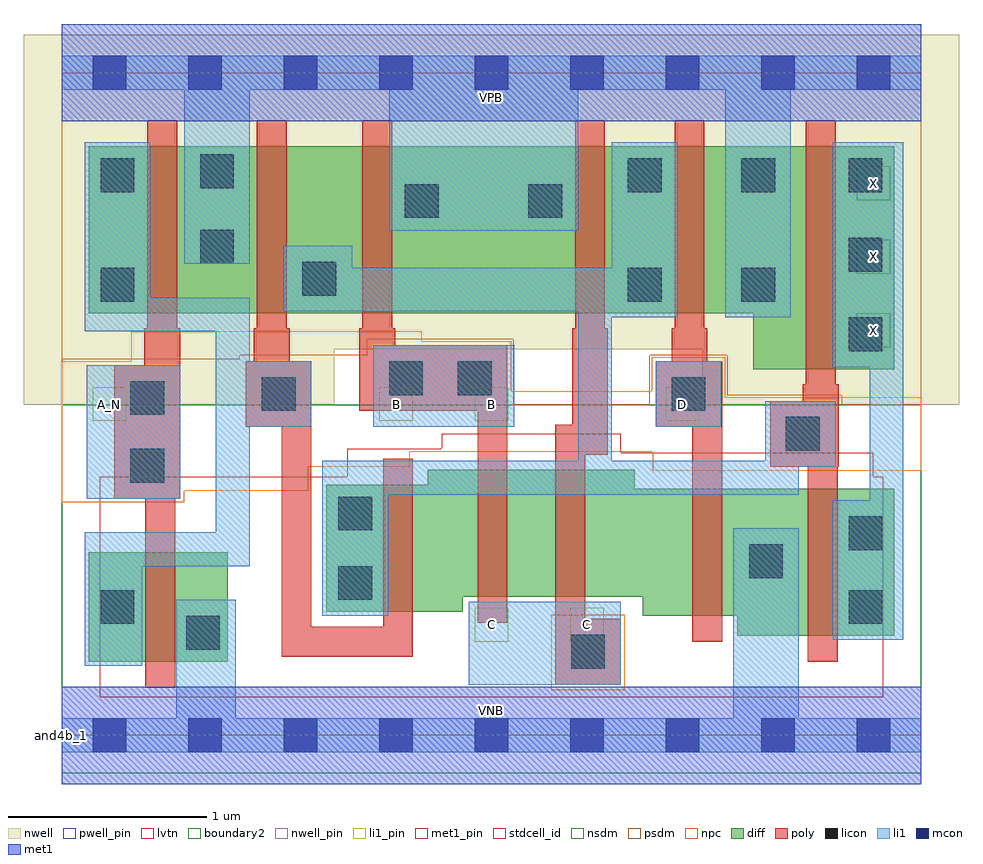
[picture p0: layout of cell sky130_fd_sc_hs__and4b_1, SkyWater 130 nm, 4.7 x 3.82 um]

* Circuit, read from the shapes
.subckt sky130_fd_sc_hs__and4b_1 A_N B C D VGND VNB VPB VPWR X
XM1 VGND A_N n1 VNB sky130_fd_pr__nfet_01v8_lvt w=0.55 l=0.15
XM2 n2 n1 n3 VNB sky130_fd_pr__nfet_01v8_lvt w=0.64 l=0.15
XM3 n4 B n2 VNB sky130_fd_pr__nfet_01v8_lvt w=0.64 l=0.15
XM4 n5 C n4 VNB sky130_fd_pr__nfet_01v8_lvt w=0.64 l=0.15
XM5 VGND D n5 VNB sky130_fd_pr__nfet_01v8_lvt w=0.64 l=0.15
XM6 X n3 VGND VNB sky130_fd_pr__nfet_01v8_lvt w=0.74 l=0.15
XM7 VPWR A_N n1 VPB sky130_fd_pr__pfet_01v8 w=0.84 l=0.15
XM8 n3 n1 VPWR VPB sky130_fd_pr__pfet_01v8 w=0.84 l=0.15
XM9 VPWR B n3 VPB sky130_fd_pr__pfet_01v8 w=0.84 l=0.15
XM10 n3 C VPWR VPB sky130_fd_pr__pfet_01v8 w=0.84 l=0.15
XM11 VPWR D n3 VPB sky130_fd_pr__pfet_01v8 w=0.84 l=0.15
XM12 X n3 VPWR VPB sky130_fd_pr__pfet_01v8 w=1.12 l=0.15
.ends

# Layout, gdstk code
import gdstk
lib = gdstk.Library(unit=1e-6, precision=1e-09)
def R(c, l, rs):  # rectangles x0, y0, x1, y1
    for r in rs: c.add(gdstk.rectangle(r[:2], r[2:], *l))
def A(c, l, x, y, w, h, nx, ny, dx, dy):  # array of equal rectangles
    R(c, l, [(x+i*dx, y+j*dy, x+i*dx+w, y+j*dy+h) for i in range(nx) for j in range(ny)])
def P(c, l, *ps):  # polygons
    for p in ps: c.add(gdstk.Polygon(p, *l))
nwell_pin = (64, 16)
nwell = (64, 20)
diff = (65, 20)
poly = (66, 20)
licon = (66, 44)
li1_pin = (67, 16)
li1 = (67, 20)
mcon = (67, 44)
met1_pin = (68, 16)
met1 = (68, 20)
stdcell_id = (81, 4)
nsdm = (93, 44)
psdm = (94, 20)
npc = (95, 20)
pwell_pin = (122, 16)
lvtn = (125, 44)
boundary2 = (236, 0)

sky130_fd_sc_hs__and4b_1 = lib.new_cell('sky130_fd_sc_hs__and4b_1')
R(sky130_fd_sc_hs__and4b_1, nwell_pin, [(0,3.085,4.32,3.33)])
P(sky130_fd_sc_hs__and4b_1, nwell, [(4.51,3.52),(-0.19,3.52),(-0.19,1.66),(1.37,1.66),(1.37,1.94),(3.22,1.94),(3.22,1.66),(4.51,1.66)])
R(sky130_fd_sc_hs__and4b_1, diff, [(0.135,0.37,0.835,0.92)])
P(sky130_fd_sc_hs__and4b_1, diff, [(4.185,2.96),(0.135,2.96),(0.135,2.12),(3.475,2.12),(3.475,1.84),(4.185,1.84)],
  [(4.185,1.24),(2.88,1.24),(2.88,1.335),(1.84,1.335),(1.84,1.26),(1.33,1.26),(1.33,0.62),(2.015,0.62),(2.015,0.695),(2.92,0.695),(2.92,0.6),(3.395,0.6),(3.395,0.5),(4.185,0.5)])
P(sky130_fd_sc_hs__and4b_1, poly, [(3.905,1.765),(3.89,1.765),(3.89,3.09),(3.74,3.09),(3.74,1.765),(3.725,1.765),(3.725,1.68),(3.56,1.68),(3.56,1.35),(3.75,1.35),(3.75,0.37),(3.9,0.37),(3.9,1.35),(3.905,1.35)],
  [(3.32,1.88),(3.245,1.88),(3.245,2.045),(3.23,2.045),(3.23,3.09),(3.08,3.09),(3.08,2.045),(3.065,2.045),(3.065,1.88),(2.985,1.88),(2.985,1.55),(3.17,1.55),(3.17,0.47),(3.32,0.47)],
  [(2.81,0.585),(2.63,0.585),(2.63,1.41),(2.745,1.41),(2.745,2.045),(2.73,2.045),(2.73,3.09),(2.58,3.09),(2.58,2.045),(2.565,2.045),(2.565,1.56),(2.48,1.56),(2.48,0.255),(2.81,0.255)],
  [(2.24,1.96),(1.675,1.96),(1.675,2.045),(1.66,2.045),(1.66,3.09),(1.51,3.09),(1.51,2.045),(1.495,2.045),(1.495,1.63),(2.09,1.63),(2.09,0.565),(2.24,0.565)],
  [(1.765,1.39),(1.615,1.39),(1.615,0.545),(1.255,0.545),(1.255,1.88),(1.145,1.88),(1.145,2.045),(1.13,2.045),(1.13,3.09),(0.98,3.09),(0.98,2.045),(0.965,2.045),(0.965,1.88),(0.925,1.88),(0.925,1.55),(1.105,1.55),(1.105,0.395),(1.765,0.395)],
  [(0.595,2.045),(0.58,2.045),(0.58,3.09),(0.43,3.09),(0.43,2.045),(0.415,2.045),(0.415,1.86),(0.265,1.86),(0.265,1.19),(0.42,1.19),(0.42,0.24),(0.57,0.24),(0.57,1.19),(0.595,1.19)])
A(sky130_fd_sc_hs__and4b_1, licon, 3.955, 1.93, 0.17, 0.17, 1, 3, 0, 0.4)
R(sky130_fd_sc_hs__and4b_1, licon, [(2.56,0.335,2.73,0.505), (0.625,0.43,0.795,0.6), (0.195,0.56,0.365,0.73), (3.955,0.56,4.125,0.73), (1.39,0.68,1.56,0.85), (3.455,0.79,3.625,0.96), (3.955,0.93,4.125,1.1), (1.39,1.03,1.56,1.2), (0.345,1.27,0.515,1.44), (3.64,1.43,3.81,1.6), (0.345,1.61,0.515,1.78), (1.005,1.63,1.175,1.8), (3.065,1.63,3.235,1.8), (1.645,1.71,1.815,1.88), (1.99,1.71,2.16,1.88), (0.195,2.18,0.365,2.35), (2.845,2.18,3.015,2.35), (3.415,2.18,3.585,2.35), (1.21,2.21,1.38,2.38), (0.695,2.37,0.865,2.54), (1.725,2.6,1.895,2.77), (2.345,2.6,2.515,2.77), (0.195,2.73,0.365,2.9), (2.845,2.73,3.015,2.9), (3.415,2.73,3.585,2.9), (0.695,2.75,0.865,2.92)])
A(sky130_fd_sc_hs__and4b_1, li1_pin, 3.995, 1.95, 0.17, 0.17, 1, 3, 0, 0.37)
R(sky130_fd_sc_hs__and4b_1, li1_pin, [(2.075,0.47,2.245,0.64), (2.555,0.47,2.725,0.64), (0.155,1.58,0.325,1.75), (1.595,1.58,1.765,1.75), (2.075,1.58,2.245,1.75), (3.035,1.58,3.205,1.75)])
R(sky130_fd_sc_hs__and4b_1, li1, [(2.045,0.255,2.81,0.67), (0.125,1.19,0.595,1.86), (1.565,1.55,2.275,1.96), (2.985,1.55,3.315,1.88)])
P(sky130_fd_sc_hs__and4b_1, li1, [(1.645,2.535),(1.645,3.245),(0.945,3.245),(0.945,2.37),(0.615,2.37),(0.615,3.245),(0,3.245),(0,3.415),(4.32,3.415),(4.32,3.245),(3.665,3.245),(3.665,2.1),(3.335,2.1),(3.335,3.245),(2.595,3.245),(2.595,2.535)],
  [(0.575,0.085),(0.575,0.68),(0.875,0.68),(0.875,0.085),(3.375,0.085),(3.375,1.04),(3.705,1.04),(3.705,0.085),(4.32,0.085),(4.32,-0.085),(0,-0.085),(0,0.085)],
  [(3.875,1.85),(3.875,2.98),(4.23,2.98),(4.23,0.48),(3.875,0.48),(3.875,1.18),(4.06,1.18),(4.06,1.85)],
  [(0.945,0.85),(0.405,0.85),(0.405,0.35),(0.115,0.35),(0.115,1.02),(0.775,1.02),(0.775,2.03),(0.115,2.03),(0.115,2.98),(0.445,2.98),(0.445,2.2),(0.945,2.2),(0.945,1.88),(1.255,1.88),(1.255,1.55),(0.945,1.55)],
  [(3.89,1.68),(3.535,1.68),(3.535,1.38),(2.765,1.38),(2.765,2.1),(3.095,2.1),(3.095,2.98),(2.765,2.98),(2.765,2.35),(1.46,2.35),(1.46,2.46),(1.115,2.46),(1.115,2.13),(2.595,2.13),(2.595,1.38),(1.31,1.38),(1.31,0.6),(1.64,0.6),(1.64,1.21),(3.705,1.21),(3.705,1.35),(3.89,1.35)])
A(sky130_fd_sc_hs__and4b_1, mcon, 0.155, -0.085, 0.17, 0.17, 9, 2, 0.48, 3.33)
R(sky130_fd_sc_hs__and4b_1, met1_pin, [(0,0,4.32,0.245), (0,3.085,4.32,3.33)])
R(sky130_fd_sc_hs__and4b_1, met1, [(0,-0.245,4.32,0.245), (0,3.085,4.32,3.575)])
R(sky130_fd_sc_hs__and4b_1, stdcell_id, [(0,0,4.32,3.33)])
R(sky130_fd_sc_hs__and4b_1, nsdm, [(0,-0.19,4.32,1.66)])
P(sky130_fd_sc_hs__and4b_1, psdm, [(4.32,3.52),(0,3.52),(0,1.89),(0.895,1.89),(0.895,1.91),(1.535,1.91),(1.535,1.99),(2.27,1.99),(2.27,1.66),(2.955,1.66),(2.955,1.91),(3.345,1.91),(3.345,1.71),(3.92,1.71),(3.92,1.66),(4.32,1.66)])
R(sky130_fd_sc_hs__and4b_1, npc, [(2.46,0.225,2.83,0.605)])
P(sky130_fd_sc_hs__and4b_1, npc, [(4.32,1.7),(3.335,1.7),(3.335,1.9),(2.965,1.9),(2.965,1.73),(2.26,1.73),(2.26,1.98),(1.81,1.98),(1.81,2.03),(0.35,2.03),(0.35,1.88),(0,1.88),(0,1.17),(0.615,1.17),(0.615,1.23),(1.24,1.23),(1.24,1.35),(1.75,1.35),(1.75,1.425),(2.97,1.425),(2.97,1.33),(4.32,1.33)])
R(sky130_fd_sc_hs__and4b_1, pwell_pin, [(0,0,4.32,0.245)])
P(sky130_fd_sc_hs__and4b_1, lvtn, [(4.13,1.3),(4.08,1.3),(4.08,1.42),(2.81,1.42),(2.81,1.515),(1.91,1.515),(1.91,1.44),(1.435,1.44),(1.435,1.3),(0.19,1.3),(0.19,0.19),(4.13,0.19)])
R(sky130_fd_sc_hs__and4b_1, boundary2, [(0,0,4.32,3.33)])
sky130_fd_sc_hs__and4b_1.add(gdstk.Label('and4b_1', (0,0), layer=83, texttype=44))
sky130_fd_sc_hs__and4b_1.add(gdstk.Label('VNB', (2.16,0.123), layer=64, texttype=59))
sky130_fd_sc_hs__and4b_1.add(gdstk.Label('VPB', (2.16,3.208), layer=64, texttype=5))
sky130_fd_sc_hs__and4b_1.add(gdstk.Label('VPWR', (2.16,3.208), layer=68, texttype=5))
sky130_fd_sc_hs__and4b_1.add(gdstk.Label('VGND', (2.16,0.123), layer=68, texttype=5))
sky130_fd_sc_hs__and4b_1.add(gdstk.Label('X', (4.08,2.035), layer=67, texttype=5))
sky130_fd_sc_hs__and4b_1.add(gdstk.Label('X', (4.08,2.405), layer=67, texttype=5))
sky130_fd_sc_hs__and4b_1.add(gdstk.Label('X', (4.08,2.775), layer=67, texttype=5))
sky130_fd_sc_hs__and4b_1.add(gdstk.Label('A_N', (0.24,1.665), layer=67, texttype=5))
sky130_fd_sc_hs__and4b_1.add(gdstk.Label('D', (3.12,1.665), layer=67, texttype=5))
sky130_fd_sc_hs__and4b_1.add(gdstk.Label('C', (2.16,0.555), layer=67, texttype=5))
sky130_fd_sc_hs__and4b_1.add(gdstk.Label('C', (2.64,0.555), layer=67, texttype=5))
sky130_fd_sc_hs__and4b_1.add(gdstk.Label('B', (1.68,1.665), layer=67, texttype=5))
sky130_fd_sc_hs__and4b_1.add(gdstk.Label('B', (2.16,1.665), layer=67, texttype=5))

lib.write_gds('sky130_fd_sc_hs__and4b_1.gds')
